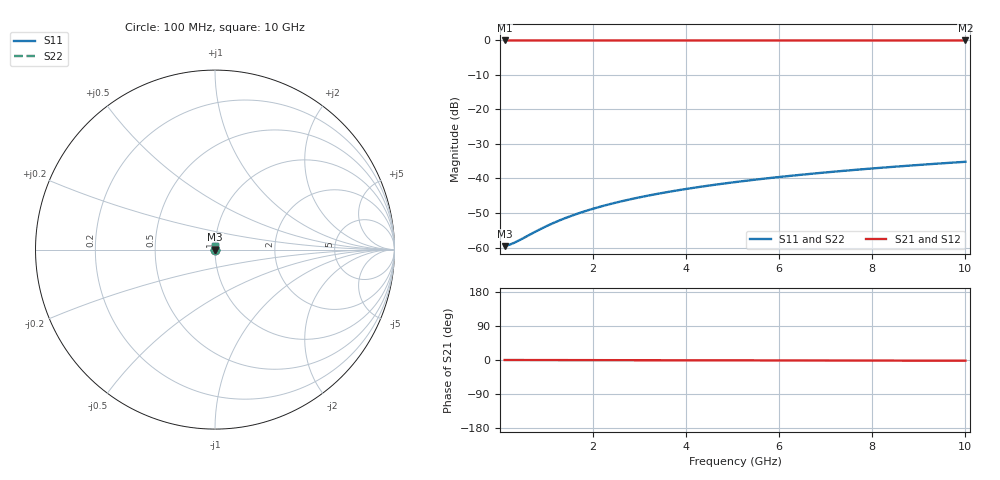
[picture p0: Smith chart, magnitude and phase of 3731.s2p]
# Hz S RI R 50.00
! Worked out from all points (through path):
!   100 points, 100 MHz to 10 GHz, reference 50 ohm
!   highest |S21| = -0.01 dB at 100 MHz (marker M1); lowest = 0.0 dB at 10 GHz (marker M2)
!   lowest |S11| = -59.6 dB at 100 MHz (marker M3), VSWR 1.00, Z = 50.1 + j0.0174 ohm
!   |S11| at or under -10 dB: start of sweep to end of sweep
!   |S22| runs from -59.6 to -35.2 dB; largest |S21 - S12| = 0
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1e8  0.00103 0.000174  0.999 -0.000328  0.999 -0.000328  0.00103 0.000174
2e8  0.00104 0.000347  0.999 -0.000656  0.999 -0.000656  0.00104 0.000347
3e8  0.00104 0.000521  0.999 -0.000985  0.999 -0.000985  0.00104 0.000521
4e8  0.00105 0.000695  0.999 -0.00131  0.999 -0.00131  0.00105 0.000695
9e8  0.00107 0.00156  0.9989 -0.00295  0.9989 -0.00295  0.00107 0.00156
1.2e9  0.00107 0.00208  0.9989 -0.00394  0.9989 -0.00394  0.00107 0.00208
1.5e9  0.00108 0.0026  0.9989 -0.00492  0.9989 -0.00492  0.00108 0.0026
1.8e9  0.00109 0.00313  0.9989 -0.00591  0.9989 -0.00591  0.00109 0.00313
2.1e9  0.00111 0.00365  0.9989 -0.00689  0.9989 -0.00689  0.00111 0.00365
2.5e9  0.00112 0.00434  0.9989 -0.00821  0.9989 -0.00821  0.00112 0.00434
2.9e9  0.00114 0.00504  0.9988 -0.00952  0.9988 -0.00952  0.00114 0.00504
3.4e9  0.00116 0.0059  0.9988 -0.0112  0.9988 -0.0112  0.00116 0.0059
3.8e9  0.00118 0.0066  0.9988 -0.0125  0.9988 -0.0125  0.00118 0.0066
4.2e9  0.0012 0.00729  0.9988 -0.0138  0.9988 -0.0138  0.0012 0.00729
4.6e9  0.00123 0.00799  0.9987 -0.0151  0.9987 -0.0151  0.00123 0.00799
5.1e9  0.00126 0.00886  0.9987 -0.0167  0.9987 -0.0167  0.00126 0.00886
5.9e9  0.00132 0.0102  0.9986 -0.0194  0.9986 -0.0194  0.00132 0.0102
6.7e9  0.00138 0.0116  0.9986 -0.022  0.9986 -0.022  0.00138 0.0116
7.5e9  0.00145 0.013  0.9985 -0.0246  0.9985 -0.0246  0.00145 0.013
8.4e9  0.00154 0.0146  0.9984 -0.0276  0.9984 -0.0276  0.00154 0.0146
9.2e9  0.00163 0.016  0.9983 -0.0302  0.9983 -0.0302  0.00163 0.016
1e10  0.00172 0.0174  0.9981 -0.0328  0.9981 -0.0328  0.00172 0.0174
